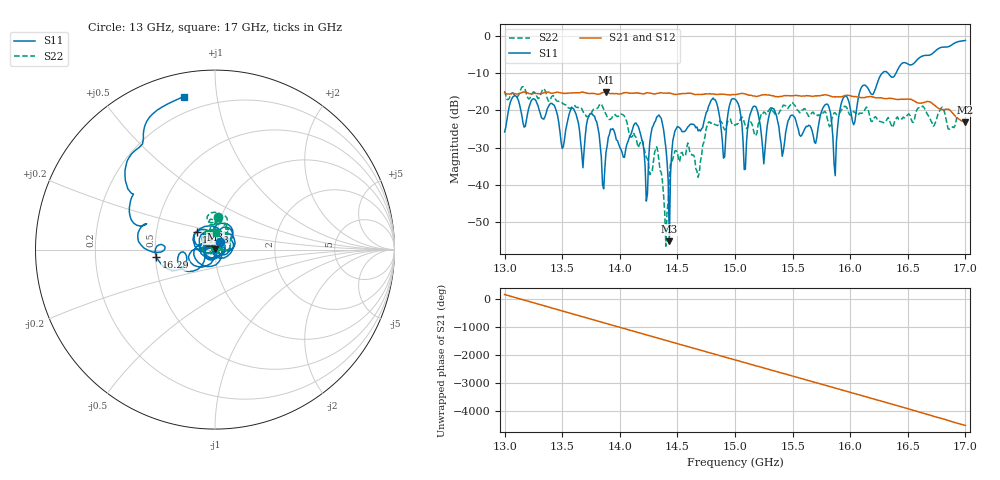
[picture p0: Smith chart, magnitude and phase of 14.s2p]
!Keysight Technologies,P9374A,MY57211807,A.19.30.04
!Date: Friday, May 01, 2026 14:48:16
!Correction: S11(C  2-Port  )
!S21(C  2-Port  )
!S12(C  2-Port  )
!S22(C  2-Port  )
!S2P File: Measurements: S11, S21, S12, S22:
# Hz S  RI  R 50
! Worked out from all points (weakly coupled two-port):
!   401 points, 13 GHz to 17 GHz, reference 50 ohm
!   highest |S21| = -15.06 dB at 13.88 GHz (marker M1); lowest = -23.2 dB at 17 GHz (marker M2)
!   lowest |S11| = -55.3 dB at 14.43 GHz (marker M3), VSWR 1.00, Z = 50.1 + j0.111 ohm
!   |S11| at or under -10 dB: start of sweep to 16.28 GHz; 16.32845 GHz to 16.39793 GHz (69.47 MHz wide, 0.425 % of centre)
!   |S22| runs from -56.5 to -13.6 dB; largest |S21 - S12| = 0.008
!   S11 on the Smith chart (normalised r, x): 13 GHz: 1.05, +0.09; 14.98 GHz: 0.80, +0.16; 16.29 GHz: 0.51, -0.05; 17 GHz: 0.12, +0.81
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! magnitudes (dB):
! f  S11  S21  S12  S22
! 13 GHz  -25.8  -15.3  -15.2  -14.8
! 13.59 GHz  -19.4  -15.3  -15.3  -18.8
! 13.67 GHz  -31.6  -15.1  -15.0  -19.6
! 13.76 GHz  -20.9  -15.5  -15.5  -20.3
! 13.88 GHz  -31.3  -15.1  -15.1  -21.1
! 14.14 GHz  -23.4  -15.3  -15.3  -27.2
! 14.23 GHz  -44.4  -15.3  -15.3  -32.6
! 14.34 GHz  -21.3  -15.4  -15.3  -33.7
! 14.4 GHz  -30.1  -15.4  -15.4  -56.5
! 14.43 GHz  -55.3  -15.3  -15.3  -37.5
! 14.5 GHz  -24.3  -15.7  -15.6  -31.3
! 14.81 GHz  -16.7  -15.6  -15.5  -23.3
! 14.9 GHz  -32.9  -15.7  -15.6  -24.6
! 14.98 GHz  -16.9  -15.7  -15.7  -23.8
! 15 GHz  -17.0  -15.8  -15.8  -24.0
! 15.09 GHz  -35.8  -15.6  -15.6  -24.2
! 15.17 GHz  -18.9  -16.1  -16.1  -26.5
! 15.67 GHz  -25.6  -16.2  -16.2  -20.6
! 15.87 GHz  -37.6  -16.4  -16.4  -20.7
! 16.29 GHz  -9.6  -16.8  -16.8  -23.3
! 16.34 GHz  -10.5  -16.7  -16.7  -22.6
! 17 GHz  -1.2  -23.2  -23.2  -20.5
